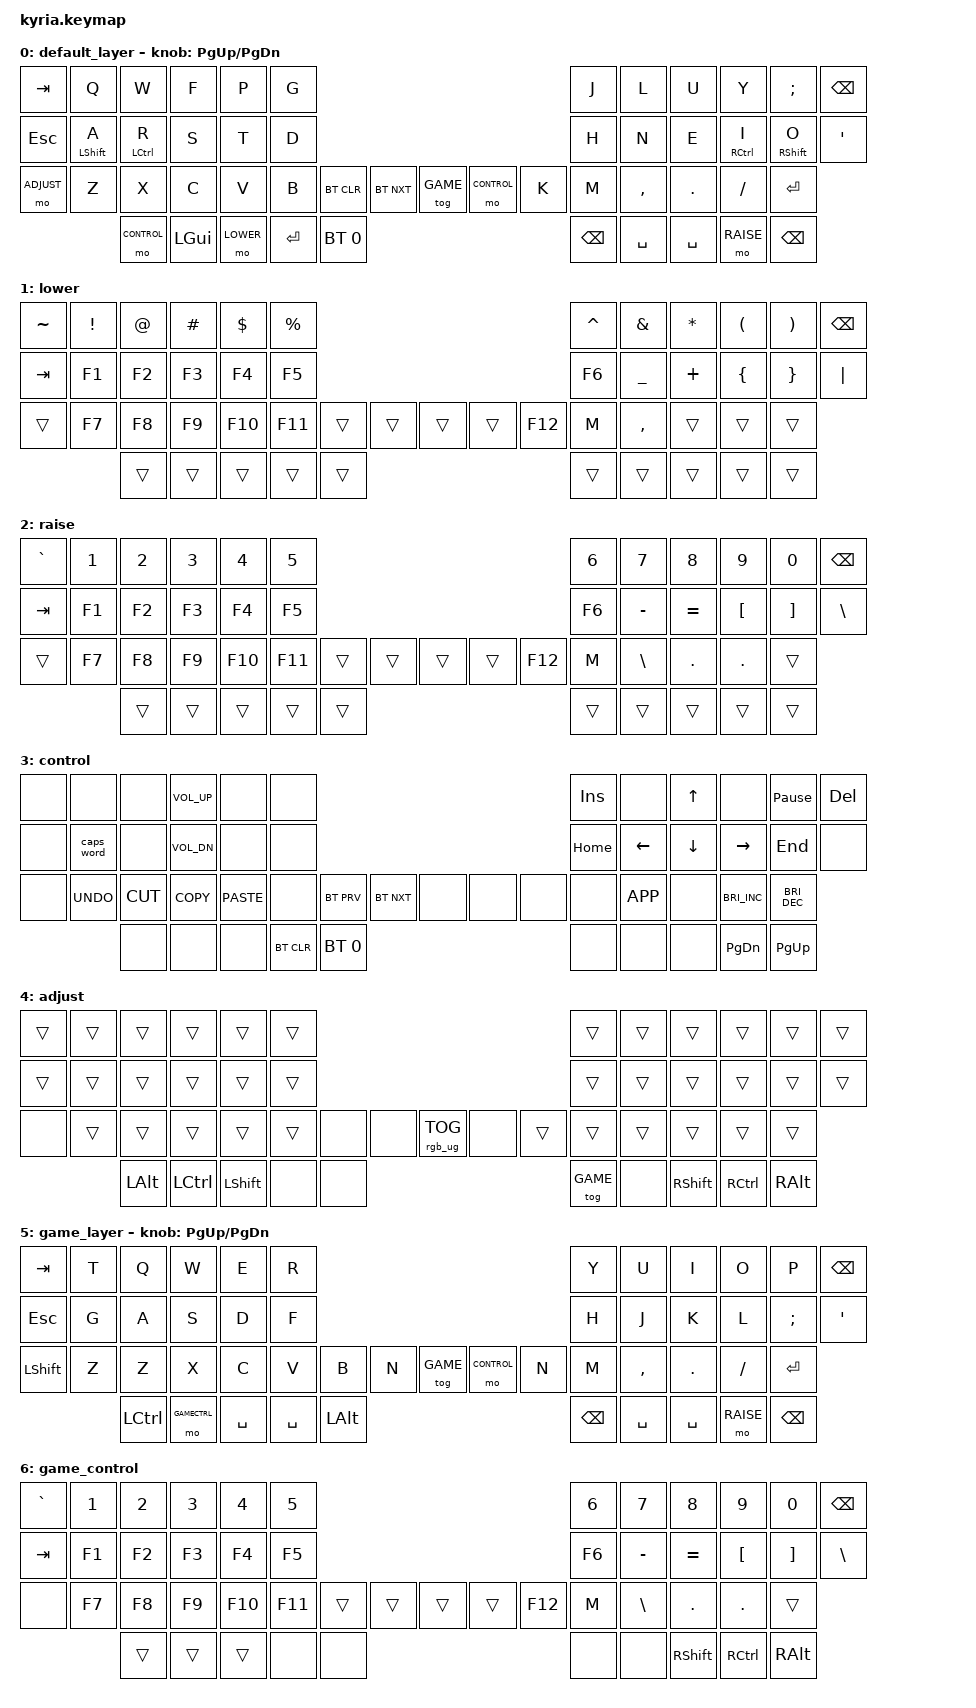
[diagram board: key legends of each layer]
/*
 * Copyright (c) 2020 The ZMK Contributors
 *
 * SPDX-License-Identifier: MIT
 */

#include <behaviors.dtsi>
#include <dt-bindings/zmk/keys.h>
#include <dt-bindings/zmk/bt.h>
#include <dt-bindings/zmk/rgb.h>
#include <dt-bindings/zmk/outputs.h>

&spi1 {
    compatible = "nordic,nrf-spim";
    status = "okay";
    mosi-pin = <6>;
    // Unused pins, needed for SPI definition, but not used by the ws2812 driver itself.
    sck-pin = <5>;
    miso-pin = <7>;

    led_strip: ws2812@0 {
        compatible = "worldsemi,ws2812-spi";
        label = "WS2812";

        /* SPI */
        reg = <0>; /* ignored, but necessary for SPI bindings */
        spi-max-frequency = <4000000>;

        /* WS2812 */
        chain-length = <11>; /* arbitrary; change at will */
        spi-one-frame = <0x70>;
        spi-zero-frame = <0x40>;
    };
};

#define DEFAULT 0
#define LOWER 1
#define RAISE 2
#define CONTROL 3
#define ADJUST 4
#define GAME 5
#define GAMECTRL 6

&mt {
    tapping-term-ms = <150>;
};

/ {
    chosen {
        zmk,underglow = &led_strip;
    };
	keymap {
		compatible = "zmk,keymap";

		default_layer {
// ---------------------------------------------------------------------------------------------------------------------------------
// |  TAB  |  Q  |  W  |  F   |  P   |  G   |                                          |  J   |  L    |  U    |  Y   |   :   | BSPC |
// |  ESC  |  A  |  R  |  S   |  T   |  D   |                                          |  H   |  N    |  E    |  I   |   O   |   '  |
// | SHIFT |  Z  |  X  |  C   |  V   |  B   | L ALT   | L SHIFT |  | L SHIFT | CONTROL |  K   |  M    |  ,    |  .   |   /   | ENTER|
//                     | CTRL | GUI  |LOWER | ENTER   |   TAB   |  |   BSPC  |  SPACE  | SPACE| RAISE | BSPC  |
			bindings = <
	&kp TAB   &kp Q &kp W &kp F &kp P &kp G                                                &kp J &kp L  &kp U     &kp Y   &kp SEMI  &kp BSPC
	&kp ESC   &mt LSHFT A &mt LCTRL R &kp S &kp T &kp D                                                &kp H &kp N  &kp E     &mt RCTRL I   &mt RSHFT O      &kp SQT
	&mo ADJUST &kp Z &kp X &kp C &kp V &kp B &bt BT_CLR &bt BT_NXT        &tog GAME &mo CONTROL &kp K &kp M  &kp COMMA &kp DOT &kp FSLH &kp RET
	                 &mo CONTROL &kp LGUI &mo LOWER &kp RET &bt BT_SEL 0        &kp BSPC  &kp SPACE  &kp SPACE &mo RAISE &kp BSPC
			>;

			sensor-bindings = <&inc_dec_kp PG_UP PG_DN>;
		};

		lower {
// ---------------------------------------------------------------------------------------------------------------------------------
// |    ~  |  !  |  @  |  #   |  $   |  %   |                                          |  ^   |  &    |  *    |  (   |   )   | BSPC |
// |  DEL  |  F1 |  F2 |  F3  |  F4  |  F5  |                                          |  F6  |  _    |  +    |  {   |   }   |   |  |
// | SHIFT |  F7 |  F8 |  F9  |  F10 |  F11 | L ALT   | L SHIFT |  | L SHIFT | L SHIFT |  F12 |  |    |  >    |  .   |   /   | ENTER|
//                     |      |      |      |         |         |  |         |         |      |       |       |
			bindings = <
	&kp TILDE &kp EXCL &kp AT &kp HASH &kp DLLR &kp PRCNT                                  &kp CARET &kp AMPS  &kp STAR  &kp LPAR   &kp RPAR  &kp BSPC
	&kp TAB   &kp F1 &kp F2 &kp F3 &kp F4 &kp F5                                                &kp F6 &kp UNDER  &kp PLUS     &kp LBRC   &kp RBRC      &kp PIPE
	&trans &kp F7 &kp F8 &kp F9 &kp F10 &kp F11 &trans &trans        &trans &trans &kp F12 &kp M  &kp COMMA &trans &trans &trans
	                 &trans &trans &trans &trans &trans       &trans  &trans  &trans &trans &trans
			>;
		};

		raise {
// ---------------------------------------------------------------------------------------------------------------------------------
// |    `  |  1  |  2  |  3   |  4   |  5   |                                          |  6   |  7    |  8    |  9   |   0   | BSPC |
// |  DEL  |  F1 |  F2 |  F3  |  F4  |  F5  |                                          |  F6  |  -    |  =    |  [   |   ]   |   \  |
// | SHIFT |  F7 |  F8 |  F9  |  F10 |  F11 | L ALT   | L SHIFT |  | L SHIFT | L SHIFT |  F12 |  \    |  <    |  .   |   /   | ENTER|
//                     |      |      |      |         |         |  |         |         |      |       |       |
			bindings = <
	&kp GRAVE &kp N1 &kp N2 &kp N3 &kp N4 &kp N5                                  &kp N6 &kp N7  &kp N8  &kp N9   &kp N0  &kp BSPC
	&kp TAB   &kp F1 &kp F2 &kp F3 &kp F4 &kp F5                                                &kp F6 &kp MINUS  &kp EQUAL     &kp LBKT   &kp RBKT      &kp BSLH
	&trans &kp F7 &kp F8 &kp F9 &kp F10 &kp F11 &trans &trans        &trans &trans &kp F12 &kp M  &kp BSLH &kp DOT &kp DOT &trans
	                 &trans &trans &trans &trans &trans       &trans  &trans  &trans &trans &trans
			>;
		};

		control {
// ---------------------------------------------------------------------------------------------------------------------------------
// |       |  1  |  2  |  3   |  4   |  5   |                                          |  6   |  7    |  8    |  9   |   0   | BSPC |
// |       |  F1 |  F2 |  F3  |  F4  |  F5  |                                          |  F6  |  -    |  =    |  [   |   ]   |   \  |
// |       |  F7 |  F8 |  F9  |  F10 |  F11 | L ALT   | L SHIFT |  | L SHIFT | L SHIFT |  F12 |  \    |  <    |  .   |   /   | ENTER|
//                     |      |      |      |         |         |  |         |         |      |       |       |
			bindings = <
	&none &none &none &kp K_VOL_UP &none &none                                  &kp INS &none  &kp UP  &none   &kp PAUSE_BREAK &kp DEL
	&none   &caps_word &none &kp K_VOL_DN &none &none                                                &kp HOME &kp LEFT  &kp DOWN     &kp RIGHT   &kp END      &none
	&none &kp K_UNDO &kp K_CUT &kp K_COPY &kp K_PASTE &none &bt BT_PRV &bt BT_NXT                   &none &none &none &none &kp K_APP &none &kp C_BRI_INC &kp C_BRI_DEC
	                 &none &none &none  &bt BT_CLR &bt BT_SEL 0                  &none &none &none  &kp PAGE_DOWN &kp PAGE_UP
			>;
	    };

		adjust {
// ---------------------------------------------------------------------------------------------------------------------------------
// |       |  1  |  2  |  3   |  4   |  5   |                                          |  6   |  7    |  8    |  9   |   0   | BSPC |
// |       |  F1 |  F2 |  F3  |  F4  |  F5  |                                          |  F6  |  -    |  =    |  [   |   ]   |   \  |
// |       |  F7 |  F8 |  F9  |  F10 |  F11 | L ALT   | L SHIFT |  | L SHIFT | L SHIFT |  F12 |  \    |  <    |  .   |   /   | ENTER|
//                     |      |      |      |         |         |  |         |         |      |       |       |
			bindings = <
	&trans &trans &trans &trans &trans &trans                                  &trans &trans  &trans  &trans   &trans  &trans
	&trans   &trans &trans &trans &trans &trans                                                &trans &trans  &trans     &trans   &trans      &trans
	&none &trans &trans &trans &trans &trans &none &none                   &rgb_ug RGB_TOG &none &trans &trans &trans &trans &trans &trans
	                 &kp LALT &kp LCTRL &kp LSHFT  &none &none                  &tog GAME &none &kp RSHFT  &kp RCTRL &kp RALT			>;
	    };

		game_layer {
// ---------------------------------------------------------------------------------------------------------------------------------
// |  TAB  |  Q  |  W  |  F   |  P   |  G   |                                          |  J   |  L    |  U    |  Y   |   :   | BSPC |
// |  ESC  |  A  |  R  |  S   |  T   |  D   |                                          |  H   |  N    |  E    |  I   |   O   |   '  |
// | SHIFT |  Z  |  X  |  C   |  V   |  B   | L ALT   | L SHIFT |  | L SHIFT | CONTROL |  K   |  M    |  ,    |  .   |   /   | ENTER|
//                     | CTRL | GUI  |LOWER | ENTER   |   TAB   |  |   BSPC  |  SPACE  | SPACE| RAISE | BSPC  |
			bindings = <
	&kp TAB   &kp T &kp Q &kp W &kp E &kp R                                                &kp Y &kp U  &kp I     &kp O   &kp P  &kp BSPC
	&kp ESC   &kp G &kp A &kp S &kp D &kp F                                                &kp H &kp J  &kp K     &kp L   &kp SEMI      &kp SQT
	&kp LSHFT &kp Z &kp Z &kp X &kp C &kp V &kp B &kp N        &tog GAME &mo CONTROL &kp N &kp M  &kp COMMA &kp DOT &kp FSLH &kp RET
	                 &kp LCTRL &mo GAMECTRL &kp SPACE &kp SPACE &kp LALT        &kp BSPC  &kp SPACE  &kp SPACE &mo RAISE &kp BSPC
			>;

			sensor-bindings = <&inc_dec_kp PG_UP PG_DN>;
		};

		game_control {
// ---------------------------------------------------------------------------------------------------------------------------------
// |       |  1  |  2  |  3   |  4   |  5   |                                          |  6   |  7    |  8    |  9   |   0   | BSPC |
// |       |  F1 |  F2 |  F3  |  F4  |  F5  |                                          |  F6  |  -    |  =    |  [   |   ]   |   \  |
// |       |  F7 |  F8 |  F9  |  F10 |  F11 | L ALT   | L SHIFT |  | L SHIFT | L SHIFT |  F12 |  \    |  <    |  .   |   /   | ENTER|
//                     |      |      |      |         |         |  |         |         |      |       |       |
			bindings = <
	&kp GRAVE &kp N1 &kp N2 &kp N3 &kp N4 &kp N5                                  &kp N6 &kp N7  &kp N8  &kp N9   &kp N0  &kp BSPC
	&kp TAB   &kp F1 &kp F2 &kp F3 &kp F4 &kp F5                                                &kp F6 &kp MINUS  &kp EQUAL     &kp LBKT   &kp RBKT      &kp BSLH
	&none &kp F7 &kp F8 &kp F9 &kp F10 &kp F11 &trans &trans        &trans &trans &kp F12 &kp M  &kp BSLH &kp DOT &kp DOT &trans
	                 &trans &trans &trans  &none &none                  &none &none &kp RSHFT  &kp RCTRL &kp RALT
            >;
	    };
    };
};
